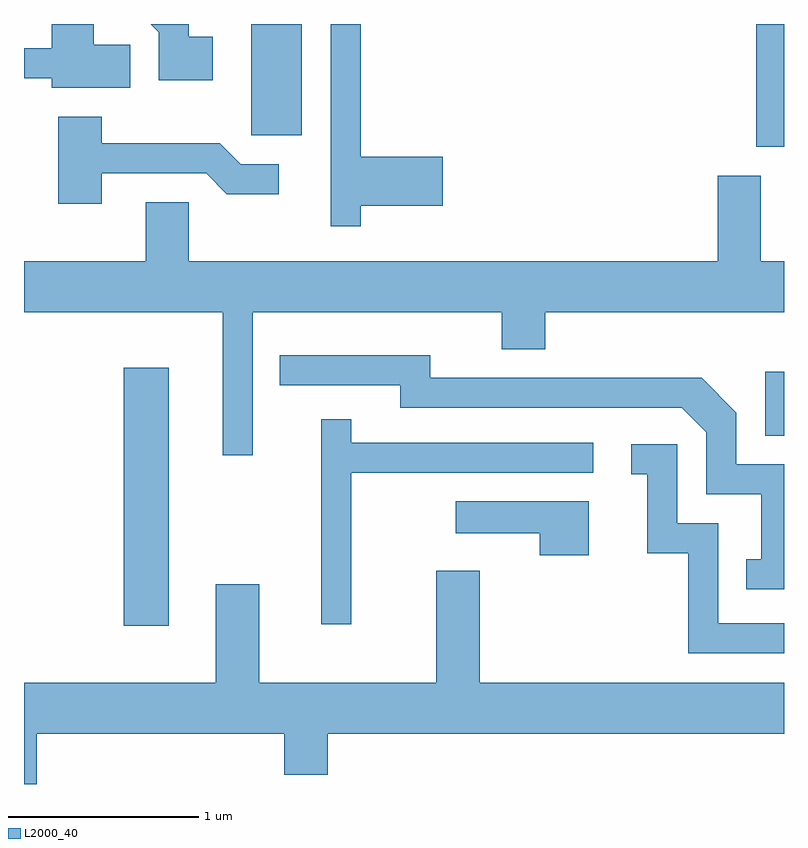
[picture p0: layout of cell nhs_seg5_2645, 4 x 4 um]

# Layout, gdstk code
import gdstk
lib = gdstk.Library(unit=1e-6, precision=1e-09)
def R(c, l, rs):  # rectangles x0, y0, x1, y1
    for r in rs: c.add(gdstk.rectangle(r[:2], r[2:], *l))
def P(c, l, *ps):  # polygons
    for p in ps: c.add(gdstk.Polygon(p, *l))
L2000_40 = (2000, 40)

nhs_seg5_2645 = lib.new_cell('nhs_seg5_2645')
R(nhs_seg5_2645, L2000_40, [(264.136,1472.906,264.374,1474.264), (267.511,1473.906,267.611,1474.243), (267.466,1475.426,267.611,1476.072), (264.806,1475.486,265.074,1476.072)])
P(nhs_seg5_2645, L2000_40, [(264.169,1475.964),(263.979,1475.964),(263.979,1476.072),(263.756,1476.072),(263.756,1475.944),(263.611,1475.944),(263.611,1475.786),(263.756,1475.786),(263.756,1475.736),(264.169,1475.736)],
  [(265.384,1475.116),(265.814,1475.116),(265.814,1475.374),(265.384,1475.374),(265.384,1476.072),(265.226,1476.072),(265.226,1475.008),(265.384,1475.008)],
  [(264.604,1476.004),(264.479,1476.004),(264.479,1476.072),(264.278,1476.072),(264.321,1476.029),(264.321,1475.776),(264.604,1475.776)],
  [(264.019,1475.286),(264.569,1475.286),(264.679,1475.176),(264.953,1475.176),(264.953,1475.334),(264.752,1475.334),(264.642,1475.444),(264.019,1475.444),(264.019,1475.584),(263.791,1475.584),(263.791,1475.126),(264.019,1475.126)],
  [(264.814,1474.556),(266.126,1474.556),(266.126,1474.361),(266.354,1474.361),(266.354,1474.556),(267.611,1474.556),(267.611,1474.824),(267.489,1474.824),(267.489,1475.274),(267.261,1475.274),(267.261,1474.824),(264.479,1474.824),(264.479,1475.134),(264.251,1475.134),(264.251,1474.824),(263.611,1474.824),(263.611,1474.556),(264.656,1474.556),(264.656,1473.803),(264.814,1473.803)],
  [(267.611,1473.754),(267.359,1473.754),(267.359,1474.027),(267.177,1474.209),(265.749,1474.209),(265.749,1474.329),(264.958,1474.329),(264.958,1474.171),(265.591,1474.171),(265.591,1474.051),(267.074,1474.051),(267.201,1473.924),(267.201,1473.596),(267.491,1473.596),(267.491,1473.254),(267.413,1473.254),(267.413,1473.096),(267.611,1473.096)],
  [(265.334,1473.711),(266.608,1473.711),(266.608,1473.869),(265.334,1473.869),(265.334,1473.993),(265.176,1473.993),(265.176,1472.913),(265.334,1472.913)],
  [(267.611,1472.919),(267.264,1472.919),(267.264,1473.444),(267.049,1473.444),(267.049,1473.859),(266.808,1473.859),(266.808,1473.701),(266.891,1473.701),(266.891,1473.286),(267.106,1473.286),(267.106,1472.761),(267.611,1472.761)],
  [(266.584,1473.559),(265.883,1473.559),(265.883,1473.391),(266.326,1473.391),(266.326,1473.276),(266.584,1473.276)],
  [(263.679,1472.336),(264.981,1472.336),(264.981,1472.121),(265.209,1472.121),(265.209,1472.336),(267.611,1472.336),(267.611,1472.604),(266.009,1472.604),(266.009,1473.194),(265.781,1473.194),(265.781,1472.604),(264.849,1472.604),(264.849,1473.124),(264.621,1473.124),(264.621,1472.604),(263.611,1472.604),(263.611,1472.072),(263.679,1472.072)])

lib.write_gds('nhs_seg5_2645.gds')
